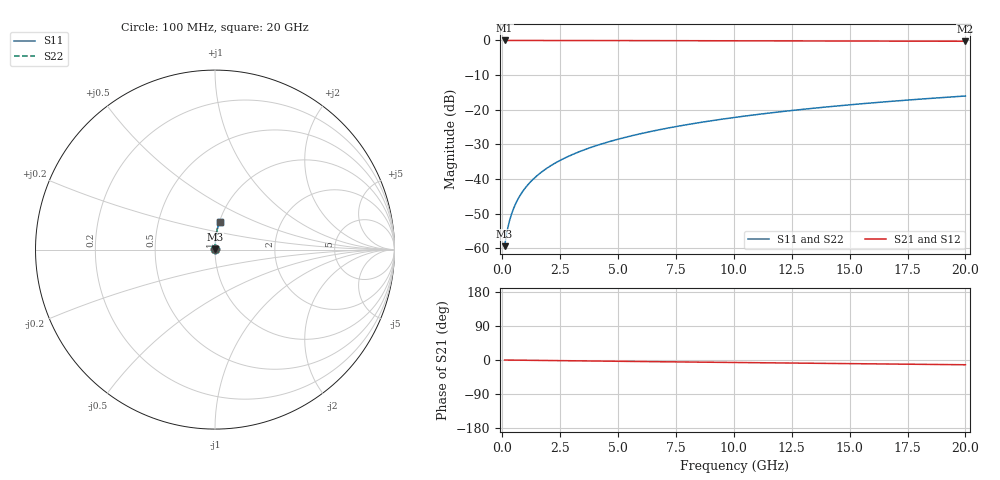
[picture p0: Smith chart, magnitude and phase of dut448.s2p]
! Touchstone file exported from HFSS 2024.1.0
!  File:  C:/UserFiles/LocalFiles/RDL_TSV_Batchsim/temp_RDL_top_448_1779677074.aedt
!  Generated:  10:46:53 AM May 25, 2026
!  Design:  RDL_top
!  Project:  temp_RDL_top_448_1779677074
!  Setup:  Setup1
!  Solution:  Sweep
! Variables:
!  dtsv = 10.80580581um
!  hbump = 3um
!  htsv = 77.72um
!  ldown = 100um
!  lrdl = 130.63um
!  p = 40
!  p1 = 52.73um
!  rhole = 1um
!  t = 450um
!  tdown = 3.915915916um
!  trdl = 4.45um
!  wdown = 15.38538539um
!  wrdl = 17.85um
# GHz S MA R 50.000000
! Terminal data exported
! Port[1] = Box2_T1
! Port[2] = Box2_T2
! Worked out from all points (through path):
!   200 points, 100 MHz to 20 GHz, reference 50 ohm
!   highest |S21| = -0.01 dB at 100 MHz (marker M1); lowest = -0.2 dB at 20 GHz (marker M2)
!   group delay of S21, straight-line fit = 1.73 ps
!   lowest |S11| = -59.4 dB at 100 MHz (marker M3), VSWR 1.00, Z = 50.1 + j0.0779 ohm
!   |S11| at or under -10 dB: start of sweep to end of sweep
!   |S22| runs from -59.4 to -16.0 dB; largest |S21 - S12| = 3.1e-15
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0.1  0.001072 46.5  0.9993 -0.1  0.9993 -0.1  0.001072 46.5
! Gamma 0 0 0 0
! Port Impedance 50 0 50 0
0.2  0.001719 63.6  0.9992 -0.1  0.9992 -0.1  0.001719 63.6
0.3  0.002419 70.9  0.9992 -0.2  0.9992 -0.2  0.002419 70.9
0.4  0.00313 75.0  0.9992 -0.3  0.9992 -0.3  0.00313 75.0
0.5  0.003847 77.6  0.9991 -0.4  0.9991 -0.4  0.003847 77.6
0.7  0.005293 80.8  0.9991 -0.5  0.9991 -0.5  0.005293 80.8
0.8  0.006021 81.9  0.999 -0.6  0.999 -0.6  0.006021 81.9
1  0.007482 83.4  0.999 -0.7  0.999 -0.7  0.007482 83.4
1.2  0.008949 84.4  0.9989 -0.8  0.9989 -0.8  0.008949 84.4
1.4  0.01042 85.1  0.9988 -1.0  0.9988 -1.0  0.01042 85.1
1.7  0.01264 85.9  0.9986 -1.2  0.9986 -1.2  0.01264 85.9
2  0.01486 86.5  0.9984 -1.4  0.9984 -1.4  0.01486 86.5
2.7  0.02008 87.3  0.9979 -1.9  0.9979 -1.9  0.02008 87.3
3.5  0.02609 87.7  0.9971 -2.4  0.9971 -2.4  0.02609 87.7
4.2  0.0314 87.9  0.9963 -2.9  0.9963 -2.9  0.0314 87.9
5  0.03753 87.9  0.9953 -3.4  0.9953 -3.4  0.03752 87.9
6.8  0.05155 87.7  0.9929 -4.6  0.9929 -4.6  0.05155 87.7
8.3  0.06346 87.2  0.9908 -5.5  0.9908 -5.5  0.06346 87.2
10.1  0.07794 86.4  0.9881 -6.6  0.9881 -6.6  0.07793 86.3
13.4  0.1047 84.5  0.9832 -8.6  0.9832 -8.6  0.1047 84.5
16.7  0.1314 82.4  0.9782 -10.6  0.9782 -10.6  0.1314 82.4
20  0.1577 80.2  0.9729 -12.5  0.9729 -12.5  0.1577 80.2
